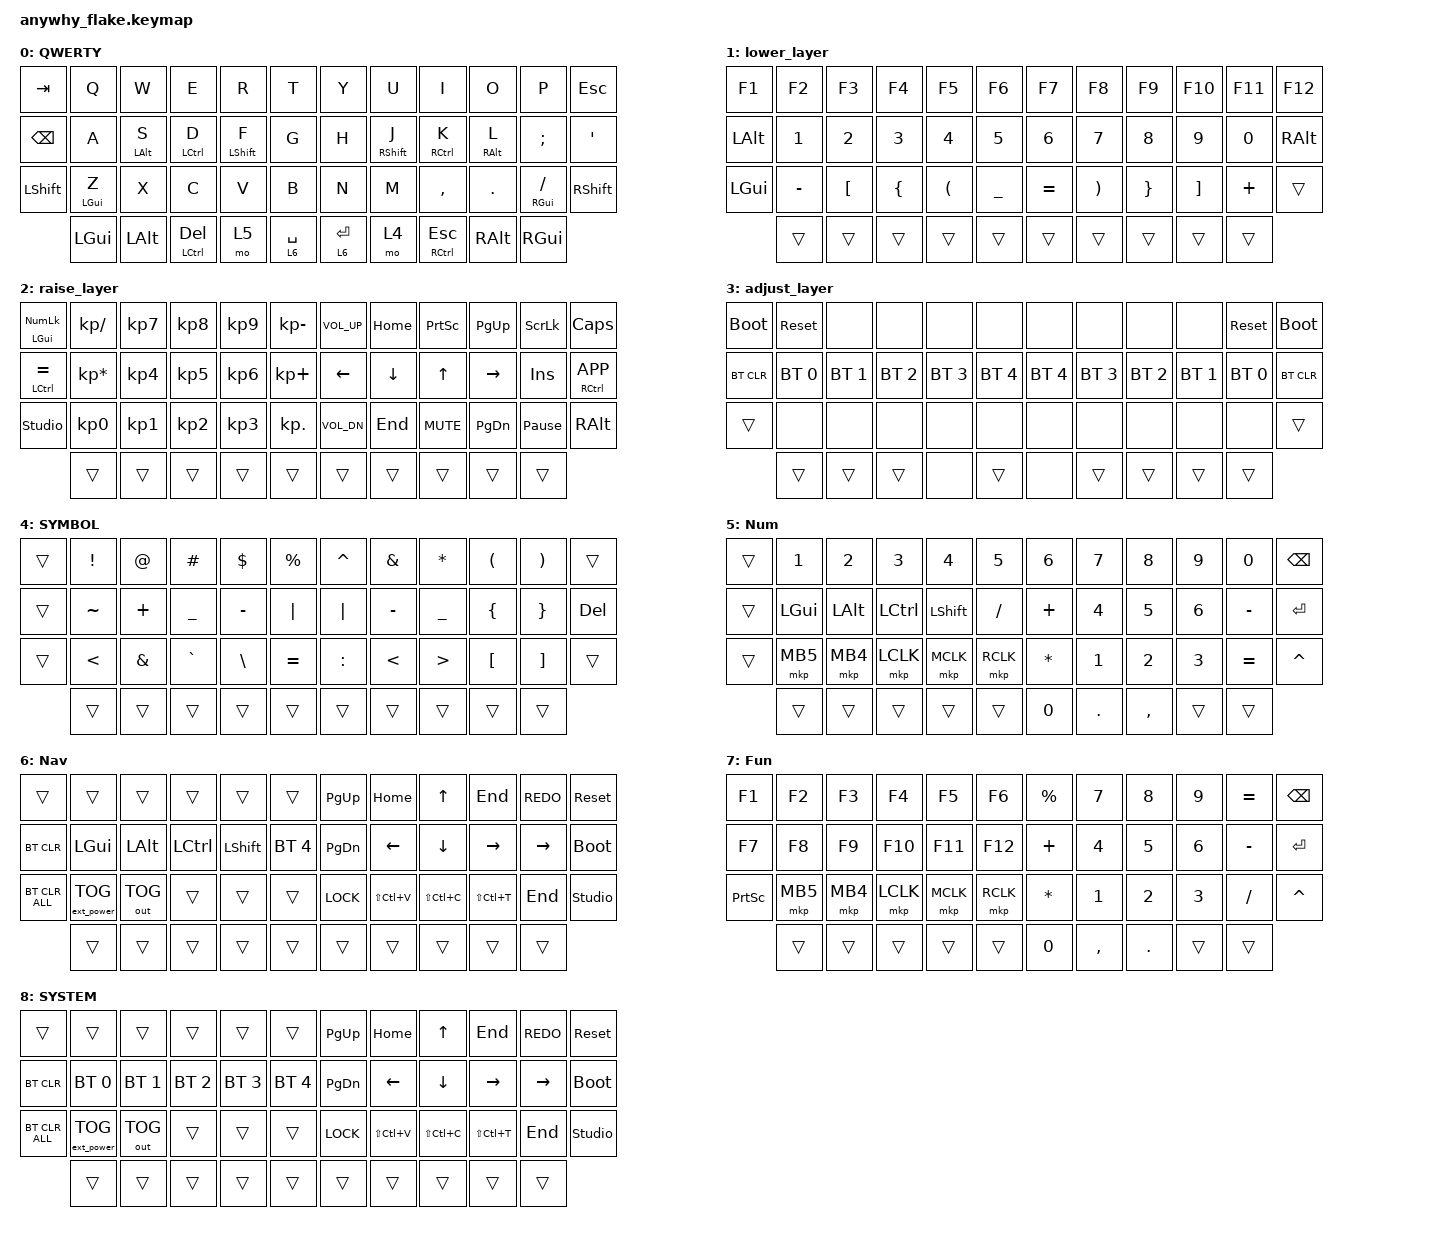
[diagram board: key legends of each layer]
#include <behaviors.dtsi>
#include <dt-bindings/zmk/bt.h>
#include <dt-bindings/zmk/ext_power.h>
#include <dt-bindings/zmk/keys.h>
#include <dt-bindings/zmk/outputs.h>
#include <dt-bindings/zmk/pointing.h>

#define DEF 0
#define LWR 1
#define RSE 2
#define ADJ 3

&lt { quick-tap-ms = <200>; };

&mt { quick-tap-ms = <200>; };

/ {
    conditional_layers {
        compatible = "zmk,conditional-layers";

        tri-layer {
            if-layers = <1 2>;
            then-layer = <3>;
        };
    };

    behaviors {
        td0: td0 {
            compatible = "zmk,behavior-tap-dance";
            display-name = "Shift/Caps Lock Tap Dance";
            #binding-cells = <0>;
            bindings = <&kp LEFT_SHIFT>, <&kp CAPS>;
        };

        hrm_left: hrm_left {
            compatible = "zmk,behavior-hold-tap";
            label = "HRM_LEFT";
            bindings = <&kp>, <&kp>;

            #binding-cells = <2>;
            flavor = "balanced";
            tapping-term-ms = <280>;
            quick-tap-ms = <175>;
            require-prior-idle-ms = <175>;
            hold-trigger-on-release;
            hold-trigger-key-positions = <6 7 20 21 22 35 45 46 47 8 9 10 11 23 19 34 44 43 42 33 32 30 18 31 53 54 55 56 57>;
        };

        hrm_right: hrm_right {
            compatible = "zmk,behavior-hold-tap";
            label = "HRM_RIGHT";
            bindings = <&kp>, <&kp>;

            #binding-cells = <2>;
            flavor = "balanced";
            tapping-term-ms = <280>;
            quick-tap-ms = <175>;
            require-prior-idle-ms = <175>;
            hold-trigger-on-release;
            hold-trigger-key-positions = <0 1 2 3 4 5 13 14 15 16 17 28 29 40 39 38 37 27 26 36 25 12 24 41 48 49 50 51 52>;
        };

        layer_tap: layer_tap {
            compatible = "zmk,behavior-hold-tap";
            label = "LAYER_TAP";
            bindings = <&mo>, <&kp>;

            #binding-cells = <2>;
            quick-tap-ms = <175>;
            flavor = "tap-preferred";
            tapping-term-ms = <280>;
        };
    };

    keymap {
        compatible = "zmk,keymap";

        QWERTY {
            bindings = <
&kp TAB         &kp Q                 &kp W                 &kp E                     &kp R               &kp T          &kp Y            &kp U                     &kp I                       &kp O                   &kp P                       &kp ESCAPE
&kp BACKSPACE   &kp A                 &hrm_left LEFT_ALT S  &hrm_left LEFT_CONTROL D  &hrm_left LSHIFT F  &kp G          &kp H            &hrm_right RIGHT_SHIFT J  &hrm_right RIGHT_CONTROL K  &hrm_right RIGHT_ALT L  &kp SEMI                    &kp APOS
&kp LEFT_SHIFT  &hrm_left LEFT_GUI Z  &kp X                 &kp C                     &kp V               &kp B          &kp N            &kp M                     &kp COMMA                   &kp DOT                 &hrm_right RIGHT_GUI SLASH  &kp RIGHT_SHIFT
                &kp LEFT_GUI          &kp LEFT_ALT          &mt LCTRL DEL             &mo 5               &lt 6 SPACE    &lt 6 ENTER      &mo 4                     &mt RCTRL ESCAPE            &kp RIGHT_ALT           &kp RIGHT_GUI
            >;

            label = "QWERTY";
        };

        lower_layer {
            bindings = <
&kp F1        &kp F2        &kp F3            &kp F4          &kp F5                &kp F6       &kp F7        &kp F8                 &kp F9           &kp F10            &kp F11   &kp F12
&kp LEFT_ALT  &kp NUMBER_1  &kp NUMBER_2      &kp NUMBER_3    &kp NUMBER_4          &kp N5       &kp NUMBER_6  &kp N7                 &kp N8           &kp N9             &kp N0    &kp RIGHT_ALT
&kp LEFT_GUI  &kp MINUS     &kp LEFT_BRACKET  &kp LEFT_BRACE  &kp LEFT_PARENTHESIS  &kp UNDER    &kp EQUAL     &kp RIGHT_PARENTHESIS  &kp RIGHT_BRACE  &kp RIGHT_BRACKET  &kp PLUS  &trans
              &trans        &trans            &trans          &trans                &trans       &trans        &trans                 &trans           &trans             &trans
            >;
        };

        raise_layer {
            bindings = <
&mt LGUI KP_NUM  &kp KP_SLASH     &kp KP_N7  &kp KP_N8  &kp KP_N9  &kp KP_MINUS    &kp C_VOL_UP  &kp HOME  &kp PSCRN   &kp PG_UP  &kp SLCK         &kp CLCK
&mt LCTRL EQUAL  &kp KP_MULTIPLY  &kp KP_N4  &kp KP_N5  &kp KP_N6  &kp KP_PLUS     &kp LEFT      &kp DOWN  &kp UP      &kp RIGHT  &kp INS          &mt RCTRL K_APP
&studio_unlock   &kp KP_N0        &kp KP_N1  &kp KP_N2  &kp KP_N3  &kp KP_DOT      &kp C_VOL_DN  &kp END   &kp C_MUTE  &kp PG_DN  &kp PAUSE_BREAK  &kp RALT
&trans           &trans           &trans     &trans     &trans     &trans          &trans        &trans    &trans      &trans
            >;
        };

        adjust_layer {
            bindings = <
&bootloader  &sys_reset    &none         &none         &none         &none           &none         &none         &none         &none         &sys_reset    &bootloader
&bt BT_CLR   &bt BT_SEL 0  &bt BT_SEL 1  &bt BT_SEL 2  &bt BT_SEL 3  &bt BT_SEL 4    &bt BT_SEL 4  &bt BT_SEL 3  &bt BT_SEL 2  &bt BT_SEL 1  &bt BT_SEL 0  &bt BT_CLR
&trans       &none         &none         &none         &none         &none           &none         &none         &none         &none         &none         &trans
             &trans        &trans        &trans        &none         &trans          &none         &trans        &trans        &trans        &trans
            >;
        };

        symbol {
            bindings = <
&trans  &kp EXCLAMATION  &kp AT_SIGN    &kp HASH        &kp DOLLAR     &kp PERCENT    &kp CARET  &kp AMPERSAND  &kp ASTERISK      &kp LEFT_PARENTHESIS  &kp RIGHT_PARENTHESIS  &trans
&trans  &kp TILDE        &kp PLUS       &kp UNDERSCORE  &kp MINUS      &kp PIPE       &kp PIPE   &kp MINUS      &kp UNDERSCORE    &kp LEFT_BRACE        &kp RIGHT_BRACE        &kp DELETE
&trans  &kp LESS_THAN    &kp AMPERSAND  &kp GRAVE       &kp BACKSLASH  &kp EQUAL      &kp COLON  &kp LESS_THAN  &kp GREATER_THAN  &kp LEFT_BRACKET      &kp RIGHT_BRACKET      &trans
        &trans           &trans         &trans          &trans         &trans         &trans     &trans         &trans            &trans                &trans
            >;

            label = "SYMBOL";
        };

        Num {
            label = "Num";
            bindings = <
&trans  &kp N1        &kp N2        &kp N3            &kp N4          &kp N5       &kp N6        &kp N7     &kp N8      &kp N9  &kp N0     &kp BACKSPACE
&trans  &kp LEFT_GUI  &kp LEFT_ALT  &kp LEFT_CONTROL  &kp LEFT_SHIFT  &kp SLASH    &kp PLUS      &kp N4     &kp N5      &kp N6  &kp MINUS  &kp ENTER
&trans  &mkp MB5      &mkp MB4      &mkp LCLK         &mkp MCLK       &mkp RCLK    &kp ASTERISK  &kp N1     &kp N2      &kp N3  &kp EQUAL  &kp CARET
        &trans        &trans        &trans            &trans          &trans       &kp N0        &kp PERIOD &kp COMMA   &trans  &trans
            >;
        };

        Nav {
            display-name = "Nav";
            bindings = <
&trans          &trans             &trans        &trans            &trans          &trans          &kp PAGE_UP    &kp HOME        &kp UP_ARROW    &kp END        &kp K_REDO  &sys_reset
&bt BT_CLR      &kp LEFT_GUI       &kp LEFT_ALT  &kp LEFT_CONTROL  &kp LEFT_SHIFT  &bt BT_SEL 4    &kp PAGE_DOWN  &kp LEFT_ARROW  &kp DOWN_ARROW  &kp RIGHT      &kp RIGHT   &bootloader
&bt BT_CLR_ALL  &ext_power EP_TOG  &out OUT_TOG  &trans            &trans          &trans          &kp K_LOCK     &kp LS(LC(V))   &kp LS(LC(C))   &kp LS(LC(T))  &kp END     &studio_unlock
                &trans             &trans        &trans            &trans          &trans          &trans         &trans          &trans          &trans         &trans
            >;
        };

        Fun {
            bindings = <
&kp F1           &kp F2    &kp F3    &kp F4     &kp F5     &kp F6       &kp PERCENT   &kp N7      &kp N8   &kp N9  &kp EQUAL  &kp BACKSPACE
&kp F7           &kp F8    &kp F9    &kp F10    &kp F11    &kp F12      &kp PLUS      &kp N4      &kp N5   &kp N6  &kp MINUS  &kp ENTER
&kp PRINTSCREEN  &mkp MB5  &mkp MB4  &mkp LCLK  &mkp MCLK  &mkp RCLK    &kp ASTERISK  &kp N1      &kp N2   &kp N3  &kp FSLH   &kp CARET
                 &trans    &trans    &trans     &trans     &trans       &kp N0        &kp COMMA   &kp DOT  &trans  &trans
            >;

            label = "Fun";
        };

        system {
            display-name = "SYSTEM";
            bindings = <
&trans          &trans             &trans        &trans        &trans        &trans          &kp PAGE_UP    &kp HOME        &kp UP_ARROW    &kp END        &kp K_REDO  &sys_reset
&bt BT_CLR      &bt BT_SEL 0       &bt BT_SEL 1  &bt BT_SEL 2  &bt BT_SEL 3  &bt BT_SEL 4    &kp PAGE_DOWN  &kp LEFT_ARROW  &kp DOWN_ARROW  &kp RIGHT      &kp RIGHT   &bootloader
&bt BT_CLR_ALL  &ext_power EP_TOG  &out OUT_TOG  &trans        &trans        &trans          &kp K_LOCK     &kp LS(LC(V))   &kp LS(LC(C))   &kp LS(LC(T))  &kp END     &studio_unlock
                &trans             &trans        &trans        &trans        &trans          &trans         &trans          &trans          &trans         &trans
            >;
        };
    };
};
